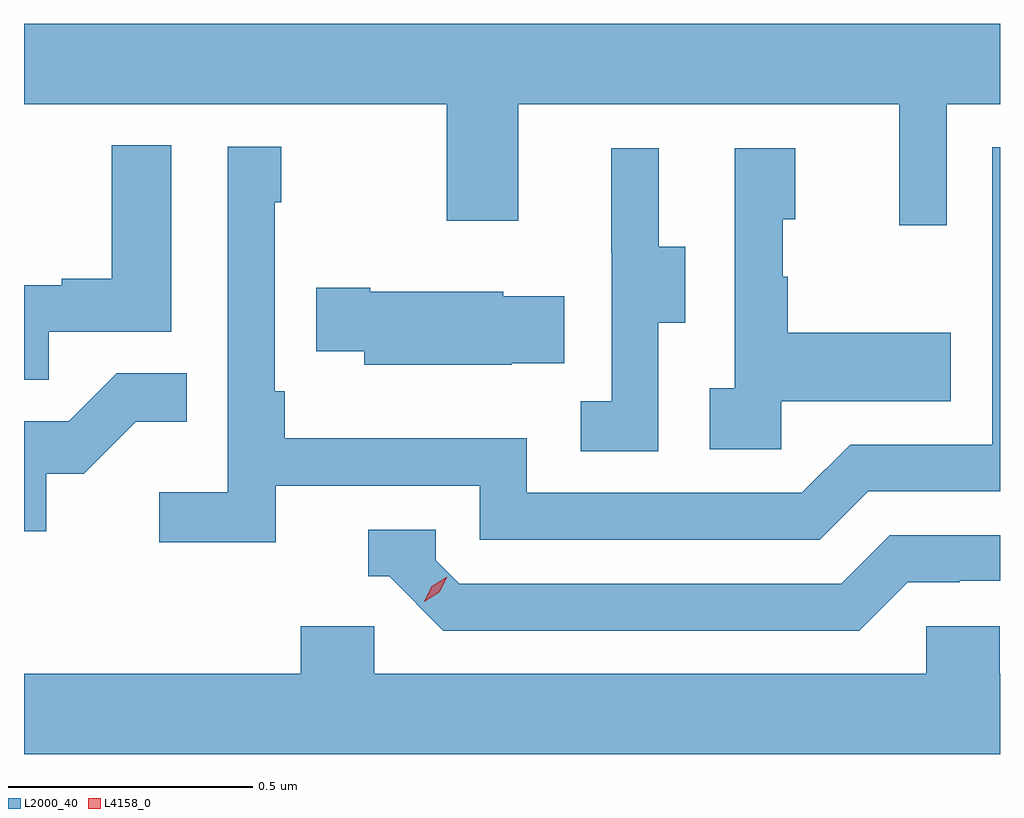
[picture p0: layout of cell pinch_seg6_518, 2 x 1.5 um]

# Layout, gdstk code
import gdstk
lib = gdstk.Library(unit=1e-6, precision=1e-09)
def P(c, l, *ps):  # polygons
    for p in ps: c.add(gdstk.Polygon(p, *l))
L2000_40 = (2000, 40)
L4158_0 = (4158, 0)

pinch_seg6_518 = lib.new_cell('pinch_seg6_518')
P(pinch_seg6_518, L2000_40, [(868.149,931.352),(868.258,931.352),(868.258,931.516),(866.258,931.516),(866.258,931.352),(867.124,931.352),(867.124,931.113),(867.271,931.113),(867.271,931.352),(868.052,931.352),(868.052,931.104),(868.149,931.104)],
  [(866.309,930.885),(866.56,930.885),(866.56,931.267),(866.438,931.267),(866.438,930.994),(866.335,930.994),(866.335,930.981),(866.258,930.981),(866.258,930.787),(866.309,930.787)],
  [(866.774,930.57),(867.192,930.57),(867.192,930.459),(867.889,930.459),(867.988,930.558),(868.258,930.558),(868.258,931.263),(868.242,931.263),(868.242,930.654),(867.951,930.654),(867.852,930.555),(867.288,930.555),(867.288,930.667),(866.792,930.667),(866.792,930.763),(866.772,930.763),(866.772,931.151),(866.785,931.151),(866.785,931.264),(866.676,931.264),(866.676,930.556),(866.535,930.556),(866.535,930.454),(866.774,930.454)],
  [(867.81,930.743),(868.157,930.743),(868.157,930.883),(867.823,930.883),(867.823,930.998),(867.813,930.998),(867.813,931.116),(867.838,931.116),(867.838,931.261),(867.714,931.261),(867.714,930.77),(867.663,930.77),(867.663,930.645),(867.81,930.645)],
  [(867.558,930.904),(867.613,930.904),(867.613,931.059),(867.559,931.059),(867.559,931.261),(867.461,931.261),(867.461,931.047),(867.462,931.047),(867.462,930.743),(867.399,930.743),(867.399,930.64),(867.558,930.64)],
  [(867.257,930.821),(867.365,930.821),(867.365,930.958),(867.24,930.958),(867.24,930.967),(866.968,930.967),(866.968,930.975),(866.857,930.975),(866.857,930.845),(866.955,930.845),(866.955,930.818),(867.257,930.818)],
  [(866.304,930.594),(866.38,930.594),(866.487,930.701),(866.591,930.701),(866.591,930.8),(866.448,930.8),(866.35,930.702),(866.258,930.702),(866.258,930.477),(866.304,930.477)],
  [(868.069,930.372),(868.176,930.372),(868.176,930.375),(868.258,930.375),(868.258,930.468),(868.032,930.468),(867.933,930.369),(867.15,930.369),(867.102,930.417),(867.102,930.48),(866.963,930.48),(866.963,930.384),(867.006,930.384),(867.117,930.273),(867.97,930.273)],
  [(868.258,930.184),(868.257,930.184),(868.257,930.282),(868.107,930.282),(868.107,930.184),(866.976,930.184),(866.976,930.282),(866.825,930.282),(866.825,930.184),(866.258,930.184),(866.258,930.02),(868.258,930.02)])
P(pinch_seg6_518, L4158_0, [(867.078,930.332),(867.078,930.332),(867.094,930.364),(867.125,930.383),(867.125,930.383),(867.125,930.383),(867.109,930.351),(867.078,930.332)])

lib.write_gds('pinch_seg6_518.gds')
